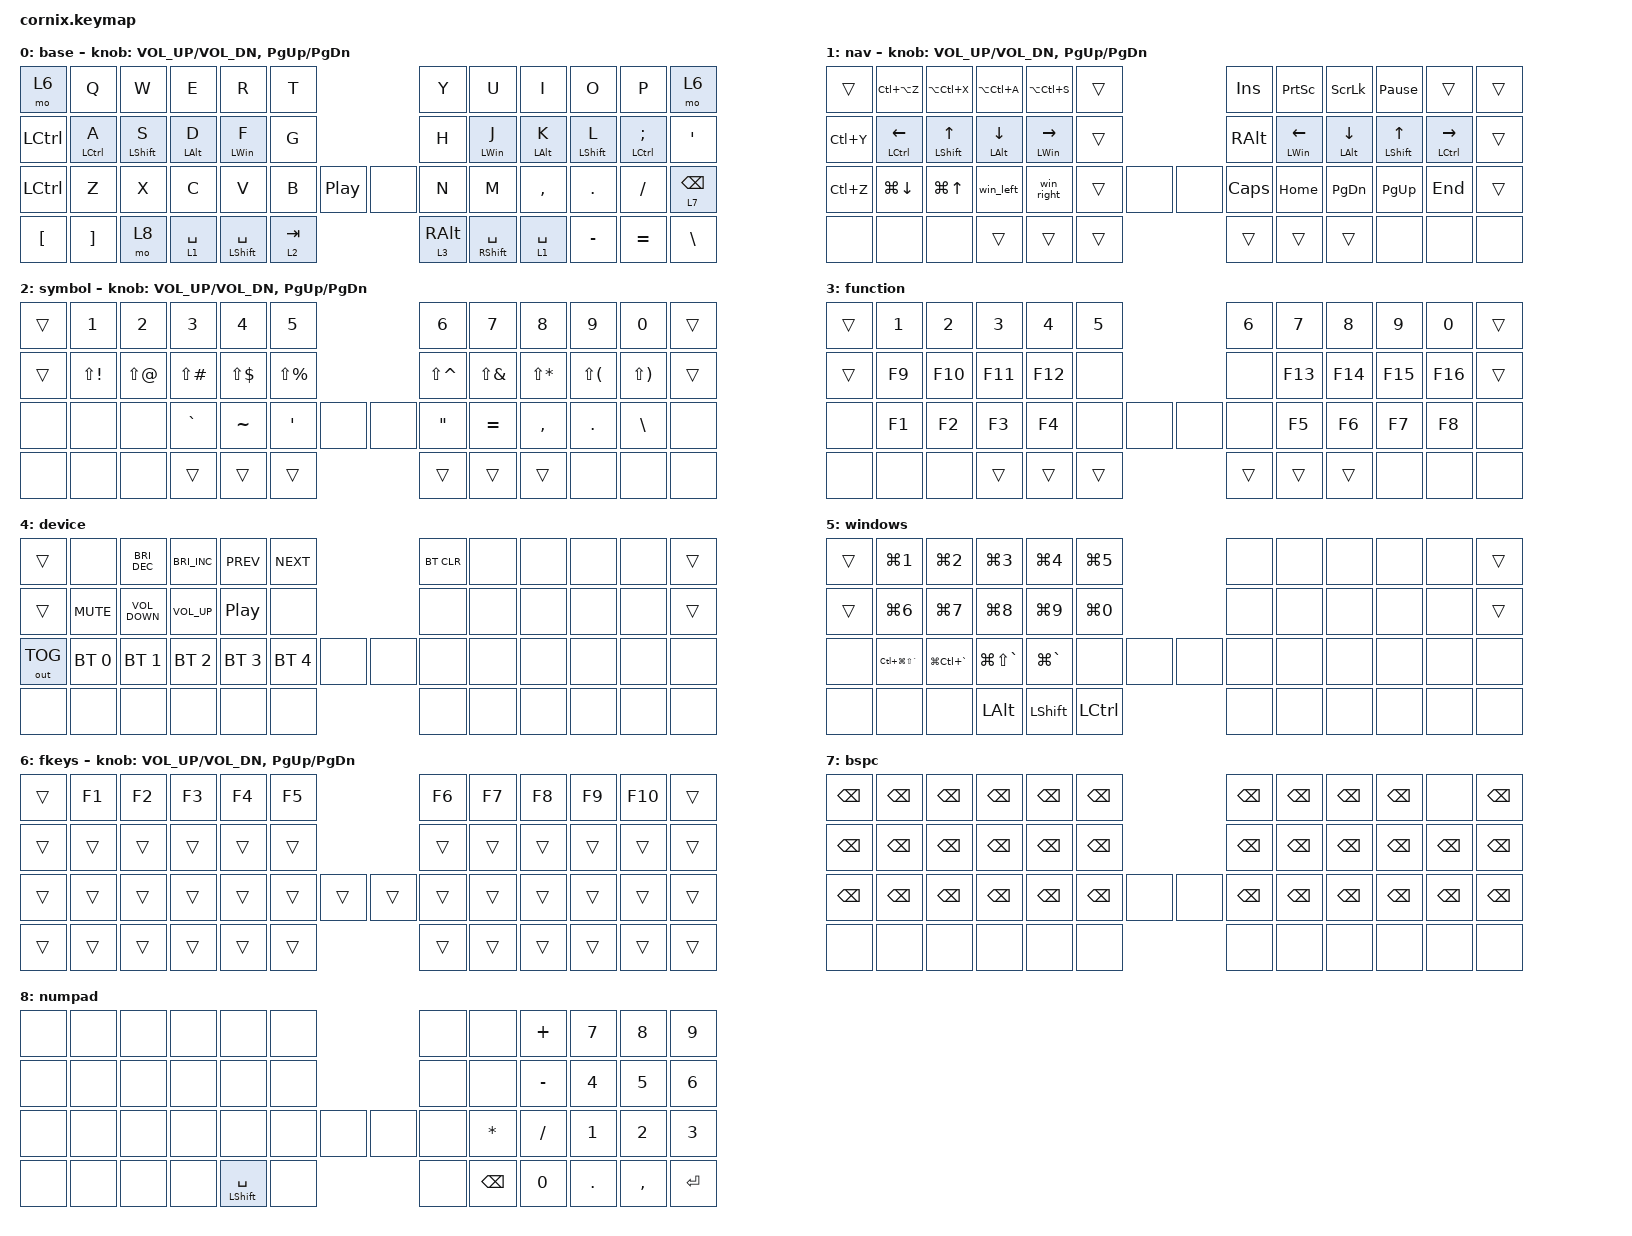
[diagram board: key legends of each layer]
/*
 * Copyright (c) 2020 The ZMK Contributors
 *
 * SPDX-License-Identifier: MIT
 *
 * Cornix 54-key keymap ported from zmk-config-totem-dongle.
 *
 * Position map (see config/includes/cornix54.h):
 *   Row 0 (top):     0  1  2  3  4  5 |  6  7  8  9 10 11
 *   Row 1 (home):   12 13 14 15 16 17 | 18 19 20 21 22 23
 *   Row 2 (bot):    24 25 26 27 28 29 30 31 32 33 34 35 36 37
 *   Row 3 (thumb):  38 39 40 41 42 43 | 44 45 46 47 48 49
 *
 * Letter positions:
 *   Q=1 W=2 E=3 R=4 T=5 | Y=6 U=7 I=8 O=9 P=10
 *   A=13 S=14 D=15 F=16 G=17 | H=18 J=19 K=20 L=21 ;=22
 *   Z=25 X=26 C=27 V=28 B=29 | N=32 M=33 ,=34 .=35 /=36
 *   Left thumbs (outer→inner): 41 42 43   Right thumbs: 44 45 46
 *
 * NOTE: pinky columns 1 (Q/A/Z) and 10 (P/;//) are shifted down one row in
 * layers 0-3. On the base layer this means: top-row positions 1 and 10 are
 * empty; Q=13 A=25 Z=39(palm); P=22 ;=36 /=48(palm).
 */

#include <behaviors.dtsi>
#include <dt-bindings/zmk/bt.h>
#include <dt-bindings/zmk/keys.h>
#include <dt-bindings/zmk/outputs.h>
#include <dt-bindings/zmk/pointing.h>

&soft_off { hold-time-ms = <2000>; };

// Mouse scroll on an encoder: disable acceleration so a brief hold scrolls at
// full speed from the first tick (see the ms_scroll_* macros below).

&msc { acceleration-exponent = <0>; };

/ {
    quick_tab: quick_tab {
        compatible = "zmk,behavior-hold-tap";
        label = "QUICK_TAB";
        bindings = <&kp>, <&kp>;

        #binding-cells = <2>;
        tapping-term-ms = <200>;
        flavor = "tap-preferred";
        quick-tap-ms = <250>;
    };

    layer_quick_tab: layer_quick_tab {
        compatible = "zmk,behavior-hold-tap";
        label = "LAYER_QUICK_TAB";
        bindings = <&mo>, <&kp>;

        #binding-cells = <2>;
        tapping-term-ms = <150>;
        flavor = "balanced";
        retro-tap;
    };

    mouse_click_key: mouse_click_key {
        compatible = "zmk,behavior-hold-tap";
        label = "MOUSE_CLICK_KEY";
        bindings = <&mkp>, <&mkp>;

        #binding-cells = <2>;
        tapping-term-ms = <150>;
    };

    // &msc emits nothing on press; it only moves on a timer tick that fires
    // trigger_period_ms later. A bare sensor-rotate tap releases before that,
    // so it scrolls 0. These macros hold &msc ~60ms (>= one tick); combined
    // with the &msc acceleration override above, each detent scrolls at full
    // speed. Tune tap-ms / the MOVE_Y value if scrolling is too weak or fast.

    ms_scroll_up: ms_scroll_up {
        compatible = "zmk,behavior-macro";
        label = "MS_SCROLL_UP";
        #binding-cells = <0>;
        tap-ms = <60>;
        bindings = <&macro_tap>, <&msc MOVE_Y(30)>;
    };

    ms_scroll_down: ms_scroll_down {
        compatible = "zmk,behavior-macro";
        label = "MS_SCROLL_DOWN";
        #binding-cells = <0>;
        tap-ms = <60>;
        bindings = <&macro_tap>, <&msc MOVE_Y(-30)>;
    };

    knob_mouse_scroll_2x: knob_mouse_scroll_2x {
        compatible = "zmk,behavior-sensor-rotate";
        label = "KNOB_MOUSE_SCROLL_2X";
        #sensor-binding-cells = <0>;
        bindings = <&ms_scroll_down>, <&ms_scroll_up>;
    };

    mouse_click_tab_dance: mouse_click_tab_dance {
        compatible = "zmk,behavior-tap-dance";
        label = "MOUSE_CLICK_TAB_DANCE";
        #binding-cells = <0>;
        bindings = <&mkp LCLK>, <&mouse_click_key RCLK LCLK>;
    };

    layer_hold_tap: layer_hold_tap {
        compatible = "zmk,behavior-hold-tap";
        label = "LAYER_HOLD_TAP";
        bindings = <&mo>, <&tog>;

        #binding-cells = <2>;
        tapping-term-ms = <200>;
    };

    space_shift_homerow: space_shift_homerow {
        compatible = "zmk,behavior-hold-tap";
        label = "SPACE_SHIFT_HOMEROW";
        bindings = <&kp>, <&kp>;

        #binding-cells = <2>;
        flavor = "tap-preferred";
        tapping-term-ms = <150>;
        retro-tap;
    };

    quick_tab_retro: quick_tab_retro {
        compatible = "zmk,behavior-hold-tap";
        label = "QUICK_TAB_RETRO";
        bindings = <&kp>, <&kp>;

        #binding-cells = <2>;
        tapping-term-ms = <200>;
        flavor = "tap-preferred";
        quick-tap-ms = <150>;
        retro-tap;
    };

    // pos 10: tap = backspace; hold = momentary BSPC layer, so any non-thumb
    // key pressed AND released while held becomes backspace. "balanced" means
    // releasing pos 10 first (rollover) keeps the other key as itself.

    bspc_ht: bspc_ht {
        compatible = "zmk,behavior-hold-tap";
        label = "BSPC_HT";
        bindings = <&mo>, <&kp>;

        #binding-cells = <2>;
        flavor = "balanced";
        tapping-term-ms = <200>;
        retro-tap;
    };

    combos {
        compatible = "zmk,combos";

        backspace_combo {
            bindings = <&kp BACKSPACE>;
            key-positions = <19 20>;
            layers = <0 2 3>;
            timeout-ms = <38>;
        };

        enter_combo {
            bindings = <&kp ENTER>;
            key-positions = <19 21>;
            layers = <0 2 3>;
            timeout-ms = <38>;
        };

        backspace2_combo {
            bindings = <&kp BACKSPACE>;
            key-positions = <16 15>;
            layers = <0 3 2 8>;
            timeout-ms = <38>;
        };

        enter2_combo {
            bindings = <&kp ENTER>;
            key-positions = <26 28>;
            layers = <0 3 2 8>;
            timeout-ms = <38>;
        };

        esc_combo {
            bindings = <&kp ESC>;
            key-positions = <3 2>;
            layers = <0 3 8>;
            timeout-ms = <38>;
        };

        delete_combo {
            bindings = <&kp DEL>;
            key-positions = <33 34>;
            timeout-ms = <38>;
            layers = <0 2 3>;
        };

        delete_combo2 {
            bindings = <&kp DEL>;
            key-positions = <28 27>;
            timeout-ms = <38>;
            layers = <0 3 2 8>;
        };

        win_e_combo {
            bindings = <&kp LG(E)>;
            key-positions = <3 2>;
            layers = <1>;
        };

        win_r_combo {
            bindings = <&kp LG(R)>;
            key-positions = <4 3>;
            layers = <1>;
        };

        win_shift_t_combo {
            bindings = <&kp LG(LS(T))>;
            key-positions = <4 5>;
            layers = <1>;
        };

        win_shift_s_combo {
            bindings = <&kp LG(LS(S))>;
            key-positions = <13 14>;
            layers = <1>;
        };

        win_v_combo {
            bindings = <&kp LG(V)>;
            key-positions = <28 27>;
            layers = <1>;
        };

        device_layer_combo {
            bindings = <&mo 4>;
            key-positions = <44 45 46>;
        };

        switch_task_layer_combo {
            bindings = <&switch_tasks_layer>;
            key-positions = <44 46>;
        };

        left_bootloader_combo {
            bindings = <&bootloader>;
            key-positions = <0 12 24>;
            layers = <4>;
            timeout-ms = <100>;
            require-prior-idle-ms = <500>;
        };

        right_bootloader_combo {
            bindings = <&bootloader>;
            key-positions = <11 23 37>;
            layers = <4>;
            timeout-ms = <100>;
            require-prior-idle-ms = <500>;
        };
    };

    macros {
        win_left: win_left {
            compatible = "zmk,behavior-macro";
            label = "WIN_LEFT";
            #binding-cells = <0>;
            wait-ms = <0>;
            tap-ms = <0>;
            bindings =
                <&macro_press>,
                <&kp LGUI>,
                <&macro_tap>,
                <&kp LEFT>,
                <&macro_release>,
                <&kp LGUI>;
        };

        win_right: win_right {
            compatible = "zmk,behavior-macro";
            label = "WIN_RIGHT";
            #binding-cells = <0>;
            wait-ms = <0>;
            tap-ms = <0>;
            bindings =
                <&macro_press>,
                <&kp LGUI>,
                <&macro_tap>,
                <&kp RIGHT>,
                <&macro_release>,
                <&kp LGUI>;
        };

        switch_tasks_layer: switch_tasks_layer {
            compatible = "zmk,behavior-macro";
            #binding-cells = <0>;
            bindings =
                <&macro_press>,
                <&mo 5 &kp LEFT_GUI>,
                <&macro_pause_for_release>,
                <&macro_release>,
                <&mo 5 &kp LEFT_GUI>;

            label = "SWITCH_TASKS_LAYER";
        };
    };

    behaviors {
    };

    keymap {
        compatible = "zmk,keymap";

        BL {
            display-name = "base";
            bindings = <
&mo 6      &kp Q               &kp W                    &kp E                     &kp R                                  &kp T                                    &kp Y                    &kp U                                   &kp I                     &kp O                    &kp P                  &mo 6
&kp LCTRL  &quick_tab LCTRL A  &quick_tab LEFT_SHIFT S  &quick_tab LEFT_ALT D     &quick_tab_retro LEFT_WIN F            &kp G                                    &kp H                    &quick_tab_retro LEFT_WIN J             &quick_tab LEFT_ALT K     &quick_tab LEFT_SHIFT L  &quick_tab LCTRL SEMI  &kp APOS
&kp LCTRL  &kp Z               &kp X                    &kp C                     &kp V                                  &kp B                   &kp C_PP  &none  &kp N                    &kp M                                   &kp COMMA                 &kp DOT                  &kp FSLH               &bspc_ht 7 BSPC
&kp LBKT   &kp RBKT            &mo 8                    &layer_quick_tab 1 SPACE  &space_shift_homerow LEFT_SHIFT SPACE  &layer_quick_tab 2 TAB                   &layer_quick_tab 3 RALT  &space_shift_homerow RIGHT_SHIFT SPACE  &layer_quick_tab 1 SPACE  &kp MINUS                &kp EQUAL              &kp BSLH
            >;

            sensor-bindings =
                <&inc_dec_kp C_VOL_UP C_VOL_DN>,
                <&inc_dec_kp PG_UP PG_DN>;
        };

        NAV {
            display-name = "nav";
            bindings = <
&trans     &kp LC(LA(Z))          &kp LA(LC(X))             &kp LA(LC(A))             &kp LA(LC(S))                    &trans                &kp INS   &kp PSCRN                       &kp SLCK                  &kp PAUSE_BREAK           &trans                  &trans
&kp LC(Y)  &quick_tab LCTRL LEFT  &quick_tab LEFT_SHIFT UP  &quick_tab LEFT_ALT DOWN  &quick_tab_retro LEFT_WIN RIGHT  &trans                &kp RALT  &quick_tab_retro LEFT_WIN LEFT  &quick_tab LEFT_ALT DOWN  &quick_tab LEFT_SHIFT UP  &quick_tab LCTRL RIGHT  &trans
&kp LC(Z)  &kp LG(DOWN)           &kp LG(UP)                &win_left                 &win_right                       &trans  &none  &none  &kp CAPS  &kp HOME                        &kp PG_DN                 &kp PG_UP                 &kp END                 &trans
&none      &none                  &none                     &trans                    &trans                           &trans                &trans    &trans                          &trans                    &none                     &none                   &none
            >;

            sensor-bindings = <&inc_dec_kp C_VOL_UP C_VOL_DN &inc_dec_kp PG_UP PG_DN>;
        };

        LTL {
            display-name = "symbol";
            bindings = <
&trans  &kp N1        &kp N2      &kp N3         &kp N4        &kp N5                       &kp N6         &kp N7        &kp N8        &kp N9        &kp N0        &trans
&trans  &kp LS(EXCL)  &kp LS(AT)  &kp LS(POUND)  &kp LS(DLLR)  &kp LS(PRCNT)                &kp LS(CARET)  &kp LS(AMPS)  &kp LS(STAR)  &kp LS(LPAR)  &kp LS(RPAR)  &trans
&none   &none         &none       &kp GRAVE      &kp TILDE     &kp APOS       &none  &none  &kp DQT        &kp EQUAL     &kp COMMA     &kp DOT       &kp BSLH      &none
&none   &none         &none       &trans         &trans        &trans                       &trans         &trans        &trans        &none         &none         &none
            >;

            sensor-bindings = <&inc_dec_kp C_VOL_UP C_VOL_DN &inc_dec_kp PG_UP PG_DN>;
        };

        RTL {
            display-name = "function";
            bindings = <
&trans  &kp N1  &kp N2   &kp N3   &kp N4   &kp N5                &kp N6  &kp N7   &kp N8   &kp N9   &kp N0   &trans
&trans  &kp F9  &kp F10  &kp F11  &kp F12  &none                 &none   &kp F13  &kp F14  &kp F15  &kp F16  &trans
&none   &kp F1  &kp F2   &kp F3   &kp F4   &none   &none  &none  &none   &kp F5   &kp F6   &kp F7   &kp F8   &none
&none   &none   &none    &trans   &trans   &trans                &trans  &trans   &trans   &none    &none    &none
            >;
        };

        DEVL {
            display-name = "device";
            bindings = <
&trans        &none         &kp C_BRIGHTNESS_DEC  &kp C_BRIGHTNESS_INC  &kp C_PREV        &kp C_NEXT                  &bt BT_CLR  &none  &none  &none  &none  &trans
&trans        &kp C_MUTE    &kp C_VOLUME_DOWN     &kp C_VOLUME_UP       &kp C_PLAY_PAUSE  &none                       &none       &none  &none  &none  &none  &trans
&out OUT_TOG  &bt BT_SEL 0  &bt BT_SEL 1          &bt BT_SEL 2          &bt BT_SEL 3      &bt BT_SEL 4  &none  &none  &none       &none  &none  &none  &none  &none
&none         &none         &none                 &none                 &none             &none                       &none       &none  &none  &none  &none  &none
            >;
        };

        RCL {
            display-name = "windows";
            bindings = <
&trans  &kp LG(N1)             &kp LG(N2)         &kp LG(N3)         &kp LG(N4)     &kp LG(N5)                &none  &none  &none  &none  &none  &trans
&trans  &kp LG(N6)             &kp LG(N7)         &kp LG(N8)         &kp LG(N9)     &kp LG(N0)                &none  &none  &none  &none  &none  &trans
&none   &kp LC(LG(LS(GRAVE)))  &kp LG(LC(GRAVE))  &kp LG(LS(GRAVE))  &kp LG(GRAVE)  &none       &none  &none  &none  &none  &none  &none  &none  &none
&none   &none                  &none              &kp LEFT_ALT       &kp LSHIFT     &kp LCTRL                 &none  &none  &none  &none  &none  &none
            >;
        };

        FKL {
            display-name = "fkeys";
            bindings = <
&trans  &kp F1  &kp F2  &kp F3  &kp F4  &kp F5                  &kp F6  &kp F7  &kp F8  &kp F9  &kp F10  &trans
&trans  &trans  &trans  &trans  &trans  &trans                  &trans  &trans  &trans  &trans  &trans   &trans
&trans  &trans  &trans  &trans  &trans  &trans  &trans  &trans  &trans  &trans  &trans  &trans  &trans   &trans
&trans  &trans  &trans  &trans  &trans  &trans                  &trans  &trans  &trans  &trans  &trans   &trans
            >;

            sensor-bindings = <&inc_dec_kp C_VOL_UP C_VOL_DN &inc_dec_kp PG_UP PG_DN>;
        };

        BSPCL {
            display-name = "bspc";
            bindings = <
&kp BSPC  &kp BSPC  &kp BSPC  &kp BSPC  &kp BSPC  &kp BSPC                &kp BSPC  &kp BSPC  &kp BSPC  &kp BSPC  &none     &kp BSPC
&kp BSPC  &kp BSPC  &kp BSPC  &kp BSPC  &kp BSPC  &kp BSPC                &kp BSPC  &kp BSPC  &kp BSPC  &kp BSPC  &kp BSPC  &kp BSPC
&kp BSPC  &kp BSPC  &kp BSPC  &kp BSPC  &kp BSPC  &kp BSPC  &none  &none  &kp BSPC  &kp BSPC  &kp BSPC  &kp BSPC  &kp BSPC  &kp BSPC
&none     &none     &none     &none     &none     &none                   &none     &none     &none     &none     &none     &none
            >;
        };

        NPL {
            bindings = <
&none  &none  &none  &none  &none                                  &none                &none  &none          &kp PLUS   &kp N7   &kp N8     &kp N9
&none  &none  &none  &none  &none                                  &none                &none  &none          &kp MINUS  &kp N4   &kp N5     &kp N6
&none  &none  &none  &none  &none                                  &none  &none  &none  &none  &kp STAR       &kp FSLH   &kp N1   &kp N2     &kp N3
&none  &none  &none  &none  &space_shift_homerow LEFT_SHIFT SPACE  &none                &none  &kp BACKSPACE  &kp N0     &kp DOT  &kp COMMA  &kp ENTER
            >;

            label = "numpad";
        };
    };

    conditional_layers { compatible = "zmk,conditional-layers"; };
};
